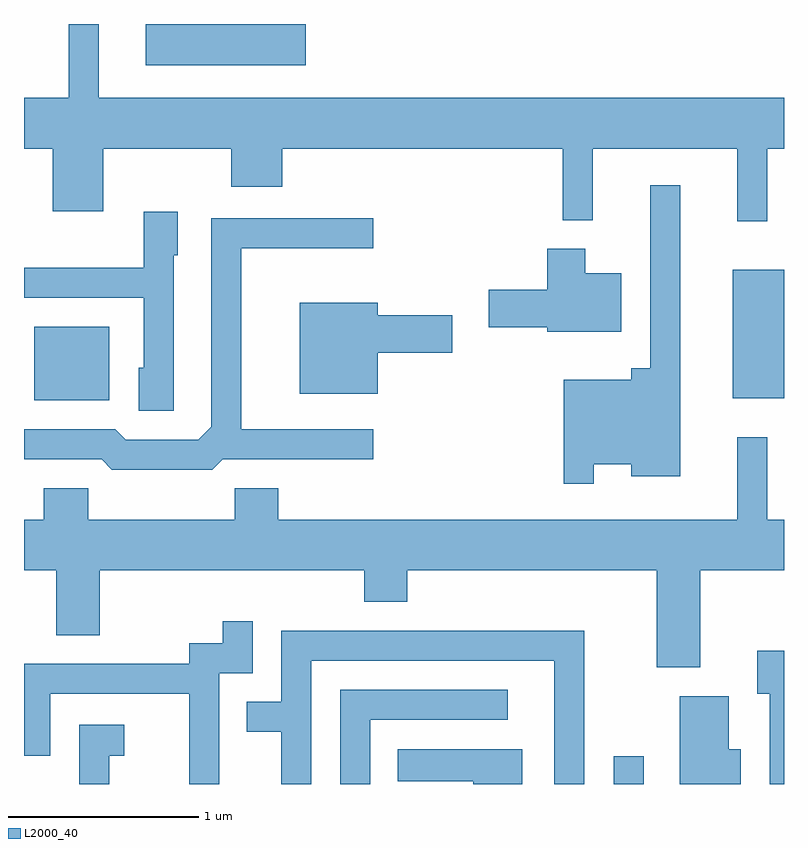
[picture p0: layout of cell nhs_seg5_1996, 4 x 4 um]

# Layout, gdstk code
import gdstk
lib = gdstk.Library(unit=1e-6, precision=1e-09)
def R(c, l, rs):  # rectangles x0, y0, x1, y1
    for r in rs: c.add(gdstk.rectangle(r[:2], r[2:], *l))
def P(c, l, *ps):  # polygons
    for p in ps: c.add(gdstk.Polygon(p, *l))
L2000_40 = (2000, 40)

nhs_seg5_1996 = lib.new_cell('nhs_seg5_1996')
R(nhs_seg5_1996, L2000_40, [(246.716,1500.072,246.874,1500.218), (243.666,1502.091,244.059,1502.479), (247.341,1502.101,247.611,1502.779), (244.251,1503.856,245.094,1504.072)])
P(nhs_seg5_1996, L2000_40, [(247.524,1503.416),(247.611,1503.416),(247.611,1503.684),(244.004,1503.684),(244.004,1504.072),(243.846,1504.072),(243.846,1503.684),(243.611,1503.684),(243.611,1503.416),(243.761,1503.416),(243.761,1503.086),(244.029,1503.086),(244.029,1503.416),(244.701,1503.416),(244.701,1503.216),(244.969,1503.216),(244.969,1503.416),(246.446,1503.416),(246.446,1503.038),(246.604,1503.038),(246.604,1503.416),(247.366,1503.416),(247.366,1503.033),(247.524,1503.033)],
  [(246.609,1501.756),(246.806,1501.756),(246.806,1501.691),(247.064,1501.691),(247.064,1503.223),(246.906,1503.223),(246.906,1502.259),(246.806,1502.259),(246.806,1502.199),(246.451,1502.199),(246.451,1501.653),(246.609,1501.653)],
  [(244.399,1502.856),(244.419,1502.856),(244.419,1503.084),(244.241,1503.084),(244.241,1502.789),(243.611,1502.789),(243.611,1502.631),(244.241,1502.631),(244.241,1502.264),(244.216,1502.264),(244.216,1502.036),(244.399,1502.036)],
  [(244.657,1501.781),(245.448,1501.781),(245.448,1501.939),(244.754,1501.939),(244.754,1502.891),(245.448,1502.891),(245.448,1503.049),(244.596,1503.049),(244.596,1501.952),(244.529,1501.884),(244.147,1501.884),(244.092,1501.939),(243.611,1501.939),(243.611,1501.781),(244.019,1501.781),(244.074,1501.726),(244.602,1501.726)],
  [(246.754,1502.759),(246.564,1502.759),(246.564,1502.889),(246.366,1502.889),(246.366,1502.674),(246.056,1502.674),(246.056,1502.476),(246.366,1502.476),(246.366,1502.451),(246.754,1502.451)],
  [(245.474,1502.341),(245.864,1502.341),(245.864,1502.539),(245.474,1502.539),(245.474,1502.604),(245.061,1502.604),(245.061,1502.126),(245.474,1502.126)],
  [(247.169,1501.196),(247.611,1501.196),(247.611,1501.464),(247.524,1501.464),(247.524,1501.898),(247.366,1501.898),(247.366,1501.464),(244.949,1501.464),(244.949,1501.629),(244.721,1501.629),(244.721,1501.464),(243.949,1501.464),(243.949,1501.629),(243.716,1501.629),(243.716,1501.464),(243.611,1501.464),(243.611,1501.196),(243.781,1501.196),(243.781,1500.856),(244.009,1500.856),(244.009,1501.196),(245.401,1501.196),(245.401,1501.031),(245.629,1501.031),(245.629,1501.196),(246.941,1501.196),(246.941,1500.686),(247.169,1500.686)],
  [(244.639,1500.656),(244.814,1500.656),(244.814,1500.928),(244.656,1500.928),(244.656,1500.814),(244.481,1500.814),(244.481,1500.704),(243.611,1500.704),(243.611,1500.221),(243.749,1500.221),(243.749,1500.546),(244.481,1500.546),(244.481,1500.072),(244.639,1500.072)],
  [(245.124,1500.721),(246.401,1500.721),(246.401,1500.072),(246.559,1500.072),(246.559,1500.879),(244.966,1500.879),(244.966,1500.504),(244.783,1500.504),(244.783,1500.346),(244.966,1500.346),(244.966,1500.072),(245.124,1500.072)],
  [(247.611,1500.774),(247.471,1500.774),(247.471,1500.546),(247.536,1500.546),(247.536,1500.072),(247.611,1500.072)],
  [(245.434,1500.411),(246.158,1500.411),(246.158,1500.569),(245.276,1500.569),(245.276,1500.072),(245.434,1500.072)],
  [(247.384,1500.254),(247.319,1500.254),(247.319,1500.534),(247.061,1500.534),(247.061,1500.072),(247.384,1500.072)],
  [(244.059,1500.221),(244.138,1500.221),(244.138,1500.384),(243.901,1500.384),(243.901,1500.072),(244.059,1500.072)],
  [(246.234,1500.254),(245.578,1500.254),(245.578,1500.086),(245.976,1500.086),(245.976,1500.072),(246.234,1500.072)])

lib.write_gds('nhs_seg5_1996.gds')
